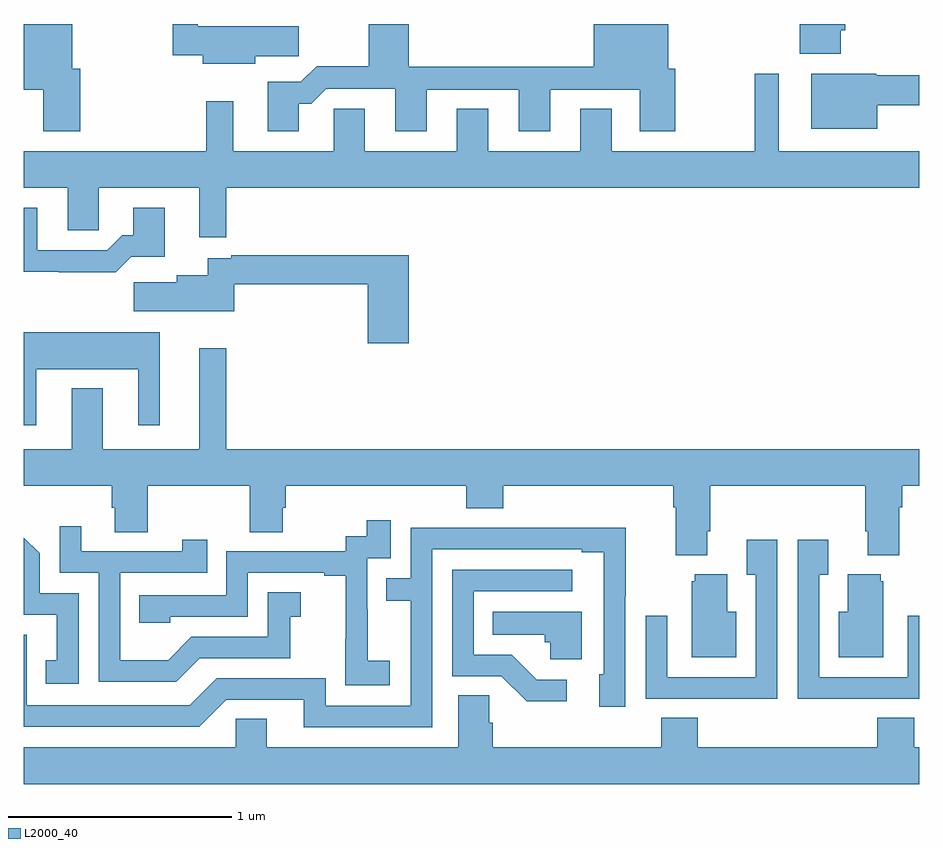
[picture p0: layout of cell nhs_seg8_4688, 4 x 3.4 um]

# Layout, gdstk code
import gdstk
lib = gdstk.Library(unit=1e-6, precision=1e-09)
def P(c, l, *ps):  # polygons
    for p in ps: c.add(gdstk.Polygon(p, *l))
L2000_40 = (2000, 40)

nhs_seg8_4688 = lib.new_cell('nhs_seg8_4688')
P(nhs_seg8_4688, L2000_40, [(398.649,1115.872),(398.669,1115.872),(398.669,1115.9),(398.466,1115.9),(398.466,1115.768),(398.649,1115.768)],
  [(395.252,1115.7),(395.215,1115.7),(395.215,1115.9),(395,1115.9),(395,1115.607),(395.087,1115.607),(395.087,1115.421),(395.252,1115.421)],
  [(396.229,1115.543),(396.284,1115.543),(396.351,1115.61),(396.659,1115.61),(396.659,1115.421),(396.799,1115.421),(396.799,1115.607),(397.211,1115.607),(397.211,1115.421),(397.351,1115.421),(397.351,1115.607),(397.751,1115.607),(397.751,1115.421),(397.911,1115.421),(397.911,1115.7),(397.879,1115.7),(397.879,1115.9),(397.547,1115.9),(397.547,1115.708),(396.719,1115.708),(396.719,1115.9),(396.541,1115.9),(396.541,1115.711),(396.308,1115.711),(396.238,1115.641),(396.089,1115.641),(396.089,1115.421),(396.229,1115.421)],
  [(396.034,1115.755),(396.229,1115.755),(396.229,1115.89),(395.776,1115.89),(395.776,1115.9),(395.664,1115.9),(395.664,1115.761),(395.798,1115.761),(395.798,1115.723),(396.034,1115.723)],
  [(395.905,1115.168),(399,1115.168),(399,1115.332),(398.374,1115.332),(398.374,1115.677),(398.265,1115.677),(398.265,1115.332),(397.627,1115.332),(397.627,1115.522),(397.487,1115.522),(397.487,1115.332),(397.075,1115.332),(397.075,1115.522),(396.935,1115.522),(396.935,1115.332),(396.523,1115.332),(396.523,1115.522),(396.384,1115.522),(396.384,1115.332),(395.935,1115.332),(395.935,1115.554),(395.814,1115.554),(395.814,1115.332),(395,1115.332),(395,1115.168),(395.195,1115.168),(395.195,1114.978),(395.334,1114.978),(395.334,1115.168),(395.783,1115.168),(395.783,1114.947),(395.905,1114.947)],
  [(398.812,1115.537),(399,1115.537),(399,1115.672),(398.808,1115.672),(398.808,1115.677),(398.519,1115.677),(398.519,1115.432),(398.812,1115.432)],
  [(395.48,1114.859),(395.629,1114.859),(395.629,1115.08),(395.489,1115.08),(395.489,1114.957),(395.44,1114.957),(395.373,1114.89),(395.059,1114.89),(395.059,1115.08),(395,1115.08),(395,1114.792),(395.155,1114.792),(395.155,1114.79),(395.411,1114.79)],
  [(396.719,1114.867),(395.926,1114.867),(395.926,1114.854),(395.822,1114.854),(395.822,1114.777),(395.684,1114.777),(395.684,1114.745),(395.49,1114.745),(395.49,1114.616),(395.939,1114.616),(395.939,1114.738),(396.536,1114.738),(396.536,1114.473),(396.719,1114.473)],
  [(395.056,1114.358),(395.51,1114.358),(395.51,1114.107),(395.608,1114.107),(395.608,1114.522),(395,1114.522),(395,1114.107),(395.056,1114.107)],
  [(395.393,1113.738),(395.405,1113.738),(395.405,1113.628),(395.553,1113.628),(395.553,1113.836),(396.01,1113.836),(396.01,1113.628),(396.157,1113.628),(396.157,1113.738),(396.17,1113.738),(396.17,1113.836),(396.977,1113.836),(396.977,1113.737),(397.142,1113.737),(397.142,1113.836),(397.901,1113.836),(397.901,1113.74),(397.913,1113.74),(397.913,1113.527),(398.053,1113.527),(398.053,1113.634),(398.066,1113.634),(398.066,1113.836),(398.759,1113.836),(398.759,1113.634),(398.771,1113.634),(398.771,1113.527),(398.911,1113.527),(398.911,1113.74),(398.924,1113.74),(398.924,1113.836),(399,1113.836),(399,1114),(395.905,1114),(395.905,1114.45),(395.783,1114.45),(395.783,1114),(395.353,1114),(395.353,1114.273),(395.213,1114.273),(395.213,1114),(395,1114),(395,1113.836),(395.393,1113.836)],
  [(396.634,1113.055),(396.536,1113.055),(396.536,1113.284),(396.534,1113.284),(396.534,1113.513),(396.639,1113.513),(396.639,1113.682),(396.531,1113.682),(396.531,1113.612),(396.438,1113.612),(396.438,1113.543),(395.904,1113.543),(395.904,1113.348),(395.515,1113.348),(395.515,1113.225),(395.655,1113.225),(395.655,1113.252),(396,1113.252),(396,1113.447),(396.341,1113.447),(396.341,1113.435),(396.437,1113.435),(396.437,1113.151),(396.436,1113.151),(396.436,1112.945),(396.634,1112.945)],
  [(395.785,1113.066),(396.189,1113.066),(396.189,1113.251),(396.238,1113.251),(396.238,1113.361),(396.09,1113.361),(396.09,1113.162),(395.748,1113.162),(395.644,1113.058),(395.43,1113.058),(395.43,1113.447),(395.819,1113.447),(395.819,1113.595),(395.708,1113.595),(395.708,1113.543),(395.257,1113.543),(395.257,1113.655),(395.16,1113.655),(395.16,1113.447),(395.334,1113.447),(395.334,1112.961),(395.68,1112.961)],
  [(396.825,1113.552),(397.493,1113.552),(397.493,1113.54),(397.59,1113.54),(397.59,1112.994),(397.571,1112.994),(397.571,1112.85),(397.686,1112.85),(397.686,1113.343),(397.689,1113.343),(397.689,1113.65),(397.225,1113.65),(397.225,1113.648),(396.729,1113.648),(396.729,1113.423),(396.619,1113.423),(396.619,1113.322),(396.729,1113.322),(396.729,1112.853),(396.348,1112.853),(396.348,1112.976),(395.862,1112.976),(395.742,1112.856),(395.013,1112.856),(395.013,1113.171),(395,1113.171),(395,1112.76),(395.784,1112.76),(395.904,1112.88),(396.251,1112.88),(396.251,1112.757),(396.825,1112.757)],
  [(395.244,1113.357),(395.07,1113.357),(395.07,1113.534),(395,1113.604),(395,1113.261),(395.147,1113.261),(395.147,1113.057),(395.098,1113.057),(395.098,1112.952),(395.244,1112.952)],
  [(398.367,1113.595),(398.231,1113.595),(398.231,1113.439),(398.271,1113.439),(398.271,1112.982),(397.875,1112.982),(397.875,1113.256),(397.779,1113.256),(397.779,1112.886),(398.095,1112.886),(398.095,1112.885),(398.367,1112.885)],
  [(398.729,1112.886),(399,1112.886),(399,1113.256),(398.949,1113.256),(398.949,1112.982),(398.553,1112.982),(398.553,1113.439),(398.593,1113.439),(398.593,1113.595),(398.457,1113.595),(398.457,1112.885),(398.729,1112.885)],
  [(397.426,1112.97),(397.291,1112.97),(397.18,1113.081),(397.011,1113.081),(397.011,1113.366),(397.45,1113.366),(397.45,1113.462),(396.915,1113.462),(396.915,1112.985),(397.134,1112.985),(397.247,1112.873),(397.426,1112.873)],
  [(398.839,1113.411),(398.828,1113.411),(398.828,1113.442),(398.681,1113.442),(398.681,1113.274),(398.642,1113.274),(398.642,1113.071),(398.839,1113.071)],
  [(398.182,1113.274),(398.143,1113.274),(398.143,1113.442),(397.997,1113.442),(397.997,1113.411),(397.985,1113.411),(397.985,1113.071),(398.182,1113.071)],
  [(397.492,1113.274),(397.096,1113.274),(397.096,1113.17),(397.327,1113.17),(397.327,1113.138),(397.353,1113.138),(397.353,1113.062),(397.492,1113.062)],
  [(399,1112.668),(398.978,1112.668),(398.978,1112.801),(398.813,1112.801),(398.813,1112.668),(398.012,1112.668),(398.012,1112.801),(397.847,1112.801),(397.847,1112.668),(397.094,1112.668),(397.094,1112.777),(397.08,1112.777),(397.08,1112.9),(396.941,1112.9),(396.941,1112.668),(396.085,1112.668),(396.085,1112.795),(395.946,1112.795),(395.946,1112.668),(395,1112.668),(395,1112.504),(399,1112.504)])

lib.write_gds('nhs_seg8_4688.gds')
